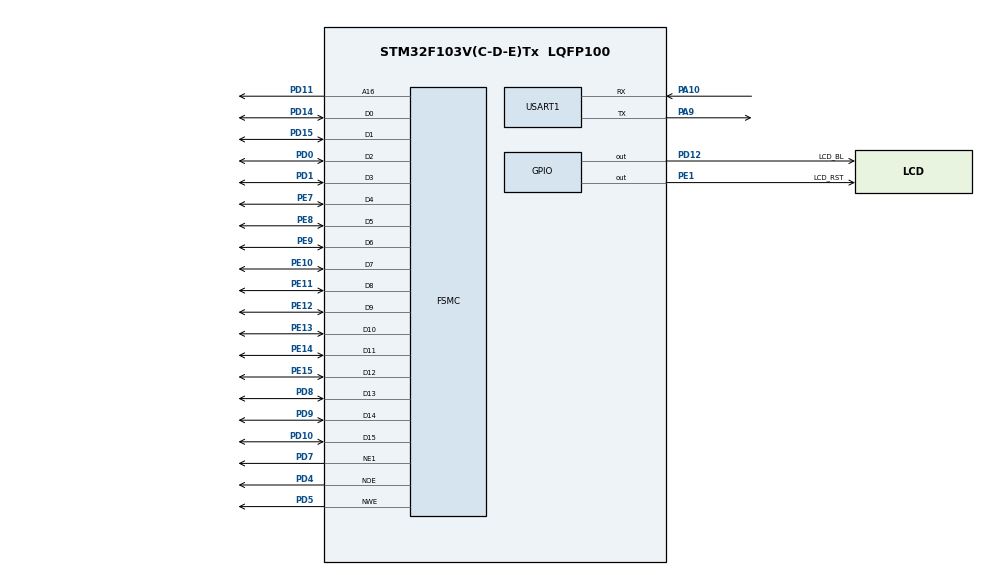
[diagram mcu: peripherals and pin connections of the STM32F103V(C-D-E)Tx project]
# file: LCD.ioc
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FREERTOS.Tasks01=Task1,24,128,StartTask1,Default,NULL,Dynamic,NULL,NULL
FSMC.AddressSetupTime1=1
FSMC.BusTurnAroundDuration1=0
FSMC.DataSetupTime1=4
Mcu.Family=STM32F1
Mcu.Name=STM32F103V(C-D-E)Tx
Mcu.Package=LQFP100
NVIC.PriorityGroup=NVIC_PRIORITYGROUP_4
NVIC.TIM8_UP_IRQn=true\:15\:0\:false\:false\:true\:false\:false\:true
NVIC.TimeBase=TIM8_UP_IRQn
NVIC.TimeBaseIP=TIM8
OSC_IN.Mode=HSE-External-Oscillator
OSC_IN.Signal=RCC_OSC_IN
OSC_OUT.Mode=HSE-External-Oscillator
OSC_OUT.Signal=RCC_OSC_OUT
PA10.Mode=Asynchronous
PA10.Signal=USART1_RX
PA13.Mode=Serial_Wire
PA13.Signal=SYS_JTMS-SWDIO
PA14.Mode=Serial_Wire
PA14.Signal=SYS_JTCK-SWCLK
PA9.Mode=Asynchronous
PA9.Signal=USART1_TX
PD0.Mode=16b-d1
PD0.Signal=FSMC_D2
PD1.Mode=16b-d1
PD1.Signal=FSMC_D3
PD10.Mode=16b-d1
PD10.Signal=FSMC_D15
PD11.Mode=A16_1
PD11.Signal=FSMC_A16
PD12.GPIO_Label=LCD_BL
PD12.Signal=GPIO_Output
PD14.Mode=16b-d1
PD14.Signal=FSMC_D0
PD15.Mode=16b-d1
PD15.Signal=FSMC_D1
PD4.Mode=Lcd1
PD4.Signal=FSMC_NOE
PD5.Mode=Lcd1
PD5.Signal=FSMC_NWE
PD7.Mode=NorPsramChipSelect1_1
PD7.Signal=FSMC_NE1
PD8.Mode=16b-d1
PD8.Signal=FSMC_D13
PD9.Mode=16b-d1
PD9.Signal=FSMC_D14
PE1.GPIO_Label=LCD_RST
PE1.Signal=GPIO_Output
PE10.Mode=16b-d1
PE10.Signal=FSMC_D7
PE11.Mode=16b-d1
PE11.Signal=FSMC_D8
PE12.Mode=16b-d1
PE12.Signal=FSMC_D9
PE13.Mode=16b-d1
PE13.Signal=FSMC_D10
PE14.Mode=16b-d1
PE14.Signal=FSMC_D11
PE15.Mode=16b-d1
PE15.Signal=FSMC_D12
PE7.Mode=16b-d1
PE7.Signal=FSMC_D4
PE8.Mode=16b-d1
PE8.Signal=FSMC_D5
PE9.Mode=16b-d1
PE9.Signal=FSMC_D6
ProjectManager.HeapSize=0x200
ProjectManager.StackSize=0x400
ProjectManager.TargetToolchain=MDK-ARM V5.32
RCC.APB1Freq_Value=8000000
RCC.APB2Freq_Value=8000000
USART1.VirtualMode=VM_ASYNC
VP_FREERTOS_VS_CMSIS_V2.Mode=CMSIS_V2
VP_SYS_VS_tim8.Mode=TIM8
board=custom

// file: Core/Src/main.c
/* USER CODE BEGIN Header */
/**
  ******************************************************************************
  * @file           : main.c
  * @brief          : Main program body
  ******************************************************************************
  * @attention
  *
  * <h2><center>&copy; Copyright (c) 2021 STMicroelectronics.
  * All rights reserved.</center></h2>
  *
  * This software component is licensed by ST under Ultimate Liberty license
  * SLA0044, the "License"; You may not use this file except in compliance with
  * the License. You may obtain a copy of the License at:
  *                             www.st.com/SLA0044
  *
  ******************************************************************************
  */
/* USER CODE END Header */
#include "main.h"
#include "cmsis_os.h"
#include "usart.h"
#include "gpio.h"
#include "fsmc.h"

/* USER CODE BEGIN Includes */
#include "bsp_ili9341_lcd.h"
#include <stdio.h>
/* USER CODE END Includes */

/* USER CODE BEGIN PV */
uint16_t color_p[] =
{
	0x0000,0x0000,0x0000,0x0000,0x0000,0x0000,0x0000,0x0000,0x0000,0x0000,
	0x0000,0x0000,0x0000,0x0000,0x0000,0x0000,0x0000,0x0000,0x0000,0x0000,
	0x0000,0x0000,0x0000,0x0000,0x0000,0x0000,0x0000,0x0000,0x0000,0x0000,
	0x0000,0x0000,0x0000,0x0000,0x0000,0x0000,0x0000,0x0000,0x0000,0x0000,
	0x0000,0x0000,0x0000,0x0000,0x0000,0x0000,0x0000,0x0000,0x0000,0x0000,
	0x0000,0x0000,0x0000,0x0000,0x0000,0x0000,0x0000,0x0000,0x0000,0x0000,
	0x0000,0x0000,0x0000,0x0000,0x0000,0x0000,0x0000,0x0000,0x0000,0x0000,
	0x0000,0x0000,0x0000,0x0000,0x0000,0x0000,0x0000,0x0000,0x0000,0x0000,
	0x0000,0x0000,0x0000,0x0000,0x0000,0x0000,0x0000,0x0000,0x0000,0x0000,
	0x0000,0x0000,0x0000,0x0000,0x0000,0x0000,0x0000,0x0000,0x0000,0x0000,
	0x0000,0x0000,0x0000,0x0000,0x0000,0x0000,0x0000,0x0000,0x0000,0x0000,
	0x0000,0x0000,0x0000,0x0000,0x0000,0x0000,0x0000,0x0000,0x0000,0x0000,
	0x0000,0x0000,0x0000,0x0000,0x0000,0x0000,0x0000,0x0000,0x0000,0x0000,
	0x0000,0x0000,0x0000,0x0000,0x0000,0x0000,0x0000,0x0000,0x0000,0x0000,
	0x0000,0x0000,0x0000,0x0000,0x0000,0x0000,0x0000,0x0000,0x0000,0x0000,
	0x0000,0x0000,0x0000,0x0000,0x0000,0x0000,0x0000,0x0000,0x0000,0x0000,
	0x0000,0x0000,0x0000,0x0000,0x0000,0x0000,0x0000,0x0000,0x0000,0x0000,
	0x0000,0x0000,0x0000,0x0000,0x0000,0x0000,0x0000,0x0000,0x0000,0x0000,
	0x0000,0x0000,0x0000,0x0000,0x0000,0x0000,0x0000,0x0000,0x0000,0x0000,
	0x0000,0x0000,0x0000,0x0000,0x0000,0x0000,0x0000,0x0000,0x0000,0x0000,
	0x0000,0x0000,0x0000,0x0000,0x0000,0x0000,0x0000,0x0000,0x0000,0x0000,
	0x0000,0x0000,0x0000,0x0000,0x0000,0x0000,0x0000,0x0000,0x0000,0x0000,
	0x0000,0x0000,0x0000,0x0000,0x0000,0x0000,0x0000,0x0000,0x0000,0x0000,
	0x0000,0x0000,0x0000,0x0000,0x0000,0x0000,0x0000,0x0000,0x0000,0x0000,
	0x0000,0x0000,0x0000,0x0000,0x0000,0x0000,0x0000,0x0000,0x0000,0x0000,
	0x001F,0x001F,0x001F,0x001F,0x001F,0x001F,0x001F,0x001F,0x001F,0x001F,
	0x001F,0x001F,0x001F,0x001F,0x001F,0x001F,0x001F,0x001F,0x001F,0x001F,
	0x001F,0x001F,0x001F,0x001F,0x001F,0x001F,0x001F,0x001F,0x001F,0x001F,
	0x001F,0x001F,0x001F,0x001F,0x001F,0x001F,0x001F,0x001F,0x001F,0x001F,
	0x001F,0x001F,0x001F,0x001F,0x001F,0x001F,0x001F,0x001F,0x001F,0x001F,
	0x001F,0x001F,0x001F,0x001F,0x001F,0x001F,0x001F,0x001F,0x001F,0x001F,
	0x001F,0x001F,0x001F,0x001F,0x001F,0x001F,0x001F,0x001F,0x001F,0x001F,
	0x001F,0x001F,0x001F,0x001F,0x001F,0x001F,0x001F,0x001F,0x001F,0x001F,
	0x001F,0x001F,0x001F,0x001F,0x001F,0x001F,0x001F,0x001F,0x001F,0x001F,
	0x001F,0x001F,0x001F,0x001F,0x001F,0x001F,0x001F,0x001F,0x001F,0x001F,
	0x001F,0x001F,0x001F,0x001F,0x001F,0x001F,0x001F,0x001F,0x001F,0x001F,
	0x001F,0x001F,0x001F,0x001F,0x001F,0x001F,0x001F,0x001F,0x001F,0x001F,
	0x001F,0x001F,0x001F,0x001F,0x001F,0x001F,0x001F,0x001F,0x001F,0x001F,
	0x001F,0x001F,0x001F,0x001F,0x001F,0x001F,0x001F,0x001F,0x001F,0x001F,
	0x001F,0x001F,0x001F,0x001F,0x001F,0x001F,0x001F,0x001F,0x001F,0x001F,
	0x001F,0x001F,0x001F,0x001F,0x001F,0x001F,0x001F,0x001F,0x001F,0x001F,
	0x001F,0x001F,0x001F,0x001F,0x001F,0x001F,0x001F,0x001F,0x001F,0x001F,
	0x001F,0x001F,0x001F,0x001F,0x001F,0x001F,0x001F,0x001F,0x001F,0x001F,
	0x001F,0x001F,0x001F,0x001F,0x001F,0x001F,0x001F,0x001F,0x001F,0x001F,
	0x001F,0x001F,0x001F,0x001F,0x001F,0x001F,0x001F,0x001F,0x001F,0x001F,
	0x001F,0x001F,0x001F,0x001F,0x001F,0x001F,0x001F,0x001F,0x001F,0x001F,
	0x001F,0x001F,0x001F,0x001F,0x001F,0x001F,0x001F,0x001F,0x001F,0x001F,
	0x001F,0x001F,0x001F,0x001F,0x001F,0x001F,0x001F,0x001F,0x001F,0x001F,
	0x001F,0x001F,0x001F,0x001F,0x001F,0x001F,0x001F,0x001F,0x001F,0x001F,
	0x001F,0x001F,0x001F,0x001F,0x001F,0x001F,0x001F,0x001F,0x001F,0x001F,
	0xF800,0xF800,0xF800,0xF800,0xF800,0xF800,0xF800,0xF800,0xF800,0xF800,
	0xF800,0xF800,0xF800,0xF800,0xF800,0xF800,0xF800,0xF800,0xF800,0xF800,
	0xF800,0xF800,0xF800,0xF800,0xF800,0xF800,0xF800,0xF800,0xF800,0xF800,
	0xF800,0xF800,0xF800,0xF800,0xF800,0xF800,0xF800,0xF800,0xF800,0xF800,
	0xF800,0xF800,0xF800,0xF800,0xF800,0xF800,0xF800,0xF800,0xF800,0xF800,
	0xF800,0xF800,0xF800,0xF800,0xF800,0xF800,0xF800,0xF800,0xF800,0xF800,
	0xF800,0xF800,0xF800,0xF800,0xF800,0xF800,0xF800,0xF800,0xF800,0xF800,
	0xF800,0xF800,0xF800,0xF800,0xF800,0xF800,0xF800,0xF800,0xF800,0xF800,
	0xF800,0xF800,0xF800,0xF800,0xF800,0xF800,0xF800,0xF800,0xF800,0xF800,
	0xF800,0xF800,0xF800,0xF800,0xF800,0xF800,0xF800,0xF800,0xF800,0xF800,
	0xF800,0xF800,0xF800,0xF800,0xF800,0xF800,0xF800,0xF800,0xF800,0xF800,
	0xF800,0xF800,0xF800,0xF800,0xF800,0xF800,0xF800,0xF800,0xF800,0xF800,
	0xF800,0xF800,0xF800,0xF800,0xF800,0xF800,0xF800,0xF800,0xF800,0xF800,
	0xF800,0xF800,0xF800,0xF800,0xF800,0xF800,0xF800,0xF800,0xF800,0xF800,
	0xF800,0xF800,0xF800,0xF800,0xF800,0xF800,0xF800,0xF800,0xF800,0xF800,
	0xF800,0xF800,0xF800,0xF800,0xF800,0xF800,0xF800,0xF800,0xF800,0xF800,
	0xF800,0xF800,0xF800,0xF800,0xF800,0xF800,0xF800,0xF800,0xF800,0xF800,
	0xF800,0xF800,0xF800,0xF800,0xF800,0xF800,0xF800,0xF800,0xF800,0xF800,
	0xF800,0xF800,0xF800,0xF800,0xF800,0xF800,0xF800,0xF800,0xF800,0xF800,
	0xF800,0xF800,0xF800,0xF800,0xF800,0xF800,0xF800,0xF800,0xF800,0xF800,
	0xF800,0xF800,0xF800,0xF800,0xF800,0xF800,0xF800,0xF800,0xF800,0xF800,
	0xF800,0xF800,0xF800,0xF800,0xF800,0xF800,0xF800,0xF800,0xF800,0xF800,
	0xF800,0xF800,0xF800,0xF800,0xF800,0xF800,0xF800,0xF800,0xF800,0xF800,
	0xF800,0xF800,0xF800,0xF800,0xF800,0xF800,0xF800,0xF800,0xF800,0xF800,
	0x07E0,0x07E0,0x07E0,0x07E0,0x07E0,0x07E0,0x07E0,0x07E0,0x07E0,0x07E0,
	0x07E0,0x07E0,0x07E0,0x07E0,0x07E0,0x07E0,0x07E0,0x07E0,0x07E0,0x07E0,
	0x07E0,0x07E0,0x07E0,0x07E0,0x07E0,0x07E0,0x07E0,0x07E0,0x07E0,0x07E0,
	0x07E0,0x07E0,0x07E0,0x07E0,0x07E0,0x07E0,0x07E0,0x07E0,0x07E0,0x07E0,
	0x07E0,0x07E0,0x07E0,0x07E0,0x07E0,0x07E0,0x07E0,0x07E0,0x07E0,0x07E0,
	0x07E0,0x07E0,0x07E0,0x07E0,0x07E0,0x07E0,0x07E0,0x07E0,0x07E0,0x07E0,
	0x07E0,0x07E0,0x07E0,0x07E0,0x07E0,0x07E0,0x07E0,0x07E0,0x07E0,0x07E0,
	0x07E0,0x07E0,0x07E0,0x07E0,0x07E0,0x07E0,0x07E0,0x07E0,0x07E0,0x07E0,
	0x07E0,0x07E0,0x07E0,0x07E0,0x07E0,0x07E0,0x07E0,0x07E0,0x07E0,0x07E0,
	0x07E0,0x07E0,0x07E0,0x07E0,0x07E0,0x07E0,0x07E0,0x07E0,0x07E0,0x07E0,
	0x07E0,0x07E0,0x07E0,0x07E0,0x07E0,0x07E0,0x07E0,0x07E0,0x07E0,0x07E0,
	0x07E0,0x07E0,0x07E0,0x07E0,0x07E0,0x07E0,0x07E0,0x07E0,0x07E0,0x07E0,
	0x07E0,0x07E0,0x07E0,0x07E0,0x07E0,0x07E0,0x07E0,0x07E0,0x07E0,0x07E0,
	0x07E0,0x07E0,0x07E0,0x07E0,0x07E0,0x07E0,0x07E0,0x07E0,0x07E0,0x07E0,
	0x07E0,0x07E0,0x07E0,0x07E0,0x07E0,0x07E0,0x07E0,0x07E0,0x07E0,0x07E0,
	0x07E0,0x07E0,0x07E0,0x07E0,0x07E0,0x07E0,0x07E0,0x07E0,0x07E0,0x07E0,
	0x07E0,0x07E0,0x07E0,0x07E0,0x07E0,0x07E0,0x07E0,0x07E0,0x07E0,0x07E0,
	0x07E0,0x07E0,0x07E0,0x07E0,0x07E0,0x07E0,0x07E0,0x07E0,0x07E0,0x07E0,
	0x07E0,0x07E0,0x07E0,0x07E0,0x07E0,0x07E0,0x07E0,0x07E0,0x07E0,0x07E0,
	0x07E0,0x07E0,0x07E0,0x07E0,0x07E0,0x07E0,0x07E0,0x07E0,0x07E0,0x07E0,
	0x07E0,0x07E0,0x07E0,0x07E0,0x07E0,0x07E0,0x07E0,0x07E0,0x07E0,0x07E0,
	0x07E0,0x07E0,0x07E0,0x07E0,0x07E0,0x07E0,0x07E0,0x07E0,0x07E0,0x07E0,
	0x07E0,0x07E0,0x07E0,0x07E0,0x07E0,0x07E0,0x07E0,0x07E0,0x07E0,0x07E0,
	0x07E0,0x07E0,0x07E0,0x07E0,0x07E0,0x07E0,0x07E0,0x07E0,0x07E0,0x07E0,
	0x07E0,0x07E0,0x07E0,0x07E0,0x07E0,0x07E0,0x07E0,0x07E0,0x07E0,0x07E0,
  0x07E0,0x07E0,0x07E0,0x07E0,0x07E0,0x07E0,0x07E0,0x07E0,0x07E0,0x07E0
};

/* USER CODE END PV */

void SystemClock_Config(void);
void MX_FREERTOS_Init(void);

/* USER CODE BEGIN 0 */
/* 告知连接器不从C库链接使用半主机的函数 */
#pragma import(__use_no_semihosting)
/* 定义 _sys_exit() 以避免使用半主机模式 */
void _sys_exit(int x)
{
    x = x;
}
/* 标准库需要的支持类型 */
struct __FILE
{
    int handle;
};

FILE __stdout;

/*重定向printf*/
#ifdef __GNUC__
#define PUTCHAR_PROTOTYPE int __io_putchar(int ch)
#else
#define PUTCHAR_PROTOTYPE int fputc(int ch, FILE *f)
#endif
PUTCHAR_PROTOTYPE
{
    HAL_UART_Transmit(&huart1 , (uint8_t *)&ch, 1, 0xFFFF);
    return ch;
}

/* USER CODE END 0 */

int main(void)
{

  /* MCU Configuration--------------------------------------------------------*/

  /* Reset of all peripherals, Initializes the Flash interface and the Systick. */
  HAL_Init();

  /* Configure the system clock */
  SystemClock_Config();

  /* Initialize all configured peripherals */
  MX_GPIO_Init();
  MX_FSMC_Init();
  MX_USART1_UART_Init();
  /* USER CODE BEGIN 2 */
	ILI9341_Init();
	printf("LCD");
	LCD_Color_Fill(0,0,10,100, color_p);
  /* USER CODE END 2 */

  /* Init scheduler */
  osKernelInitialize();  /* Call init function for freertos objects (in freertos.c) */
  MX_FREERTOS_Init();
  /* Start scheduler */
  osKernelStart();

  /* We should never get here as control is now taken by the scheduler */
  /* Infinite loop */
  while (1)
  {

  }
}

void SystemClock_Config(void)
{
  RCC_OscInitTypeDef RCC_OscInitStruct = {0};
  RCC_ClkInitTypeDef RCC_ClkInitStruct = {0};

  /** Initializes the RCC Oscillators according to the specified parameters
  * in the RCC_OscInitTypeDef structure.
  */
  RCC_OscInitStruct.OscillatorType = RCC_OSCILLATORTYPE_HSI;
  RCC_OscInitStruct.HSIState = RCC_HSI_ON;
  RCC_OscInitStruct.HSICalibrationValue = RCC_HSICALIBRATION_DEFAULT;
  RCC_OscInitStruct.PLL.PLLState = RCC_PLL_NONE;
  if (HAL_RCC_OscConfig(&RCC_OscInitStruct) != HAL_OK)
  {
    Error_Handler();
  }
  /** Initializes the CPU, AHB and APB buses clocks
  */
  RCC_ClkInitStruct.ClockType = RCC_CLOCKTYPE_HCLK|RCC_CLOCKTYPE_SYSCLK
                              |RCC_CLOCKTYPE_PCLK1|RCC_CLOCKTYPE_PCLK2;
  RCC_ClkInitStruct.SYSCLKSource = RCC_SYSCLKSOURCE_HSI;
  RCC_ClkInitStruct.AHBCLKDivider = RCC_SYSCLK_DIV1;
  RCC_ClkInitStruct.APB1CLKDivider = RCC_HCLK_DIV1;
  RCC_ClkInitStruct.APB2CLKDivider = RCC_HCLK_DIV1;

  if (HAL_RCC_ClockConfig(&RCC_ClkInitStruct, FLASH_LATENCY_0) != HAL_OK)
  {
    Error_Handler();
  }
}

void HAL_TIM_PeriodElapsedCallback(TIM_HandleTypeDef *htim)
{
  if (htim->Instance == TIM8) {
    HAL_IncTick();
  }
}

void Error_Handler(void)
{
  __disable_irq();
  while (1)
  {
  }
}

/************************ (C) COPYRIGHT STMicroelectronics *****END OF FILE****/

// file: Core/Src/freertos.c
/* USER CODE BEGIN Header */
/**
  ******************************************************************************
  * File Name          : freertos.c
  * Description        : Code for freertos applications
  ******************************************************************************
  * @attention
  *
  * <h2><center>&copy; Copyright (c) 2021 STMicroelectronics.
  * All rights reserved.</center></h2>
  *
  * This software component is licensed by ST under Ultimate Liberty license
  * SLA0044, the "License"; You may not use this file except in compliance with
  * the License. You may obtain a copy of the License at:
  *                             www.st.com/SLA0044
  *
  ******************************************************************************
  */
/* USER CODE END Header */

#include "FreeRTOS.h"
#include "task.h"
#include "main.h"
#include "cmsis_os.h"

/* USER CODE BEGIN Includes */
#include "bsp_ili9341_lcd.h"
#include "lvgl.h"
/* USER CODE END Includes */

/* Definitions for Task1 */
osThreadId_t Task1Handle;
const osThreadAttr_t Task1_attributes = {
  .name = "Task1",
  .stack_size = 128 * 4,
  .priority = (osPriority_t) osPriorityNormal,
};

void StartTask1(void *argument);

void MX_FREERTOS_Init(void); /* (MISRA C 2004 rule 8.1) */

void MX_FREERTOS_Init(void) {

  /* Create the thread(s) */
  /* creation of Task1 */
  Task1Handle = osThreadNew(StartTask1, NULL, &Task1_attributes);

}

void StartTask1(void *argument)
{
  /* USER CODE BEGIN StartTask1 */
  /* Infinite loop */
  for(;;)
  {
		lv_task_handler();
  }
  /* USER CODE END StartTask1 */
}

/************************ (C) COPYRIGHT STMicroelectronics *****END OF FILE****/
